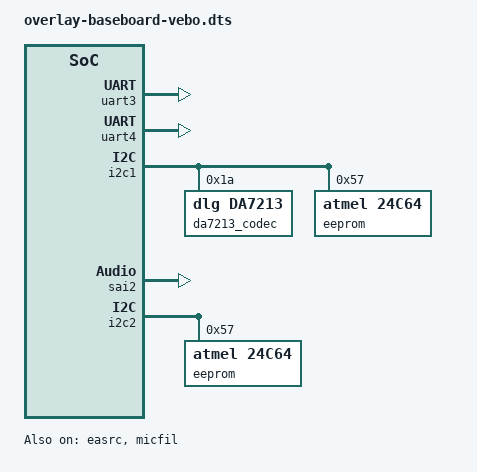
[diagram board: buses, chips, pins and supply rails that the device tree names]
/*
 * Copyright (C) 2022 Avnet Embedded GmbH
 *
 * This program is free software; you can redistribute it and/or
 * modify it under the terms of the GNU General Public License as
 * published by the Free Software Foundation version 2.
 *
 * This program is distributed "as is" WITHOUT ANY WARRANTY of any
 * kind, whether express or implied; without even the implied warranty
 * of MERCHANTABILITY or FITNESS FOR A PARTICULAR PURPOSE.  See the
 * GNU General Public License for more details.
 */

/dts-v1/;
/plugin/;

#include <dt-bindings/clock/imx8mp-clock.h>
#include <dt-bindings/gpio/gpio.h>

/ {
	fragment@1000 {
		target = <&ecspi1>;
		__overlay__ {
			pinctrl-0 = <&pinctrl_ecspi1>, <&pinctrl_ecspi1_cs0_gpio>, <&pinctrl_ecspi1_cs1>;
			spi-max-frequency = <20000000>;
			cs-gpios =<&gpio5 9 GPIO_ACTIVE_LOW>, <&gpio2 8 GPIO_ACTIVE_LOW>;
		};
	};

	fragment@1001 {
		target = <&ecspi2>;
		__overlay__ {
			pinctrl-0 = <&pinctrl_ecspi2>, <&pinctrl_ecspi2_cs0_gpio>, <&pinctrl_ecspi2_cs1>;
			spi-max-frequency = <20000000>;
			cs-gpios =<&gpio5 13 GPIO_ACTIVE_LOW>, <&gpio2 9 GPIO_ACTIVE_LOW>;
		};
	};

	fragment@1002 {
		target = <&spidev1_0>;
		__overlay__ {
			compatible = "jedec,spi-nor";
			spi-max-frequency = <20000000>;
		};
	};

	fragment@1003 {
		target = <&spidev1_1>;
		__overlay__ {
			compatible = "jedec,spi-nor";
			spi-max-frequency = <20000000>;
		};
	};

	fragment@1004 {
		target = <&spidev2_0>;
		__overlay__ {
			compatible = "jedec,spi-nor";
			spi-max-frequency = <20000000>;
		};
	};

	fragment@1005 {
		target = <&spidev2_1>;
		__overlay__ {
			compatible = "jedec,spi-nor";
			spi-max-frequency = <20000000>;
		};
	};

	fragment@1006 {
		target = <&uart3>;
		__overlay__ {
			status = "okay";
		};
	};

	fragment@1007 {
		target = <&uart4>;
		__overlay__ {
			status = "okay";
		};
	};

	fragment@1008 {
		target-path = "/";
		__overlay__ {
			da7213_sound: da7213-sound {
				compatible = "fsl,imx-audio-da7213";
				card-name = "imx-da7212-audio";
				fsl,no-audmux;
				ssi-controller = <&sai2>;
				audio-codec = <&da7213_codec>;
				audio-routing =
						"Mic1", "Mic Bias 1",
						"MIC1", "Mic1",
						"Headphone Jack", "HPL",
						"Headphone Jack", "HPR",
						"Speaker", "LINE";
				status = "okay";
			};
		};
	};

	fragment@1009 {
		target = <&i2c1>;
		__overlay__ {
			#address-cells = <1>;
			#size-cells = <0>;
			da7213_codec: da7212@1a {
				compatible = "dlg,da7213";
				reg = <0x1a>;
				clocks = <&clkout1>;
				clock-names = "mclk";
				dlg,micbias1-lvl = <3000>;
				status = "okay";
			};
		};
	};

	fragment@1010 {
		target = <&easrc>;
		__overlay__ {
			fsl,asrc-rate  = <48000>;
			status = "okay";
		};
	};

	fragment@1011 {
		target = <&micfil>;
		__overlay__ {
			status = "okay";
		};
	};

	fragment@1012 {
		target = <&sai2>;
		__overlay__ {
			pinctrl-names = "default";
			pinctrl-0 = <&pinctrl_sai2>;
			assigned-clocks = <&clk IMX8MP_CLK_SAI2>;
			assigned-clock-parents = <&clk IMX8MP_AUDIO_PLL1_OUT>;
			assigned-clock-rates = <12288000>;
			clocks = <&audio_blk_ctrl IMX8MP_CLK_AUDIO_BLK_CTRL_SAI2_IPG>,
				<&clk IMX8MP_CLK_DUMMY>,
				<&audio_blk_ctrl IMX8MP_CLK_AUDIO_BLK_CTRL_SAI2_MCLK1>,
				<&clk IMX8MP_CLK_DUMMY>,
				<&clk IMX8MP_CLK_DUMMY>;
			clock-names = "bus", "mclk0", "mclk1", "mclk2", "mclk3";
			status = "okay";
		};
	};

	fragment@1013 {
		target = <&i2c1>;
		__overlay__ {
			#address-cells = <1>;
			#size-cells = <0>;
			eeprom@57 {
				compatible = "atmel,24c64";
				reg = <0x57>;
				pagesize = <32>;
			};
		};
	};

	fragment@1014 {
		target = <&i2c2>;
		__overlay__ {
			#address-cells = <1>;
			#size-cells = <0>;
			eeprom@57 {
				compatible = "atmel,24c64";
				reg = <0x57>;
				pagesize = <32>;
			};
		};
	};
};
